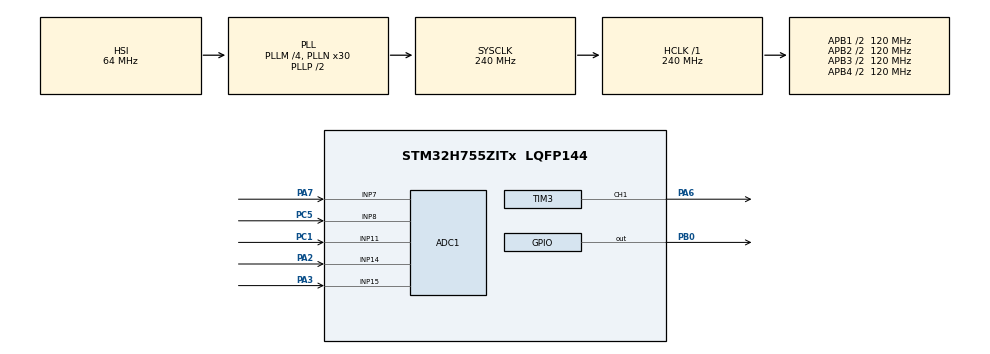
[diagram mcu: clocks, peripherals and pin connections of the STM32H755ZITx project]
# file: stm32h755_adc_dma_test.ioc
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ADC1.Channel-0\#ChannelRegularConversion=ADC_CHANNEL_7
ADC1.Channel-1\#ChannelRegularConversion=ADC_CHANNEL_8
ADC1.Channel-2\#ChannelRegularConversion=ADC_CHANNEL_11
ADC1.Channel-3\#ChannelRegularConversion=ADC_CHANNEL_14
ADC1.Channel-4\#ChannelRegularConversion=ADC_CHANNEL_15
ADC1.ConversionDataManagement=ADC_CONVERSIONDATA_DMA_CIRCULAR
ADC1.EOCSelection=ADC_EOC_SEQ_CONV
ADC1.NbrOfConversion=5
ADC1.NbrOfConversionFlag=1
ADC1.OffsetNumber-0\#ChannelRegularConversion=ADC_OFFSET_NONE
ADC1.OffsetNumber-1\#ChannelRegularConversion=ADC_OFFSET_NONE
ADC1.OffsetNumber-2\#ChannelRegularConversion=ADC_OFFSET_NONE
ADC1.OffsetNumber-3\#ChannelRegularConversion=ADC_OFFSET_NONE
ADC1.OffsetNumber-4\#ChannelRegularConversion=ADC_OFFSET_NONE
ADC1.Rank-0\#ChannelRegularConversion=1
ADC1.Rank-1\#ChannelRegularConversion=2
ADC1.Rank-2\#ChannelRegularConversion=3
ADC1.Rank-3\#ChannelRegularConversion=4
ADC1.Rank-4\#ChannelRegularConversion=5
ADC1.SamplingTime-0\#ChannelRegularConversion=ADC_SAMPLETIME_1CYCLE_5
ADC1.SamplingTime-1\#ChannelRegularConversion=ADC_SAMPLETIME_1CYCLE_5
ADC1.SamplingTime-2\#ChannelRegularConversion=ADC_SAMPLETIME_1CYCLE_5
ADC1.SamplingTime-3\#ChannelRegularConversion=ADC_SAMPLETIME_1CYCLE_5
ADC1.SamplingTime-4\#ChannelRegularConversion=ADC_SAMPLETIME_1CYCLE_5
ADC1.master=1
CortexM4.IPs=BDMA,DEBUG,DMA,FATFS_M4\:I,FREERTOS_M4\:I,IWDG2\:I,MDMA,NVIC2\:I,PDM2PCM_M4\:I,PWR,RCC,RESMGR_UTILITY,SYS_M4\:I,USB_DEVICE_M4\:I,USB_HOST_M4\:I,WWDG2\:I
CortexM7.IPs=BDMA\:I,CORTEX_M7\:I,DEBUG\:I,DMA\:I,FATFS_M7\:I,FREERTOS_M7\:I,IWDG1\:I,MDMA\:I,NVIC1\:I,PDM2PCM_M7\:I,PWR\:I,RCC\:I,RESMGR_UTILITY\:I,SYS\:I,USB_DEVICE_M7\:I,USB_HOST_M7\:I,WWDG1\:I,ADC1\:I,TIM3\:I
Dma.ADC1.0.Direction=DMA_PERIPH_TO_MEMORY
Dma.ADC1.0.EventEnable=DISABLE
Dma.ADC1.0.FIFOMode=DMA_FIFOMODE_DISABLE
Dma.ADC1.0.Instance=DMA1_Stream0
Dma.ADC1.0.MemDataAlignment=DMA_MDATAALIGN_HALFWORD
Dma.ADC1.0.MemInc=DMA_MINC_ENABLE
Dma.ADC1.0.Mode=DMA_CIRCULAR
Dma.ADC1.0.PeriphDataAlignment=DMA_PDATAALIGN_HALFWORD
Dma.ADC1.0.PeriphInc=DMA_PINC_DISABLE
Dma.ADC1.0.Polarity=HAL_DMAMUX_REQ_GEN_RISING
Dma.ADC1.0.Priority=DMA_PRIORITY_LOW
Dma.ADC1.0.RequestNumber=1
Dma.ADC1.0.SignalID=NONE
Dma.ADC1.0.SyncEnable=DISABLE
Dma.ADC1.0.SyncPolarity=HAL_DMAMUX_SYNC_NO_EVENT
Dma.ADC1.0.SyncRequestNumber=1
Dma.ADC1.0.SyncSignalID=NONE
Dma.Request0=ADC1
Mcu.Family=STM32H7
Mcu.Name=STM32H755ZITx
Mcu.Package=LQFP144
NVIC1.DMA1_Stream0_IRQn=true\:0\:0\:false\:false\:true\:false\:true
NVIC1.PriorityGroup=NVIC_PRIORITYGROUP_4
NVIC2.PriorityGroup=NVIC_PRIORITYGROUP_4
PA13\ (JTMS/SWDIO).Mode=Serial_Wire
PA13\ (JTMS/SWDIO).PinAttribute=CortexM7
PA13\ (JTMS/SWDIO).Signal=DEBUG_JTMS-SWDIO
PA14\ (JTCK/SWCLK).Mode=Serial_Wire
PA14\ (JTCK/SWCLK).PinAttribute=CortexM7
PA14\ (JTCK/SWCLK).Signal=DEBUG_JTCK-SWCLK
PA2.PinAttribute=CortexM7
PA2.Signal=ADCx_INP14
PA3.PinAttribute=CortexM7
PA3.Signal=ADCx_INP15
PA6.PinAttribute=CortexM7
PA6.Signal=S_TIM3_CH1
PA7.PinAttribute=CortexM7
PA7.Signal=ADCx_INP7
PB0.PinAttribute=CortexM7
PB0.Signal=GPIO_Output
PC1.PinAttribute=CortexM7
PC1.Signal=ADCx_INP11
PC5.PinAttribute=CortexM7
PC5.Signal=ADCx_INP8
ProjectManager.HeapSize=0x200
ProjectManager.StackSize=0x400
ProjectManager.TargetToolchain=STM32CubeIDE
RCC.ADCFreq_Value=150000000
RCC.APB1Freq_Value=120000000
RCC.APB2Freq_Value=120000000
RCC.APB3Freq_Value=120000000
RCC.APB4Freq_Value=120000000
RCC.CortexFreq_Value=240000000
RCC.D1PPRE=RCC_APB3_DIV2
RCC.D2PPRE1=RCC_APB1_DIV2
RCC.D2PPRE2=RCC_APB2_DIV2
RCC.D3PPRE=RCC_APB4_DIV2
RCC.DIVM1=4
RCC.DIVM2=4
RCC.DIVN1=30
RCC.DIVN2=9
RCC.DIVP2=1
RCC.HCLKFreq_Value=240000000
RCC.PLL2FRACN=3072
RCC.PLL3FRACN=0
RCC.PLLFRACN=0
RCC.PWR_Regulator_Voltage_Scale=PWR_REGULATOR_VOLTAGE_SCALE0
RCC.SYSCLKFreq_VALUE=240000000
RCC.SYSCLKSource=RCC_SYSCLKSOURCE_PLLCLK
RCC.SupplySource=PWR_DIRECT_SMPS_SUPPLY
RCC.USBFreq_Value=240000000
SH.ADCx_INP11.0=ADC1_INP11,IN11-Single-Ended
SH.ADCx_INP14.0=ADC1_INP14,IN14-Single-Ended
SH.ADCx_INP15.0=ADC1_INP15,IN15-Single-Ended
SH.ADCx_INP7.0=ADC1_INP7,IN7-Single-Ended
SH.ADCx_INP8.0=ADC1_INP8,IN8-Single-Ended
SH.S_TIM3_CH1.0=TIM3_CH1,PWM Generation1 CH1
TIM3.Channel-PWM\ Generation1\ CH1=TIM_CHANNEL_1
TIM3.Period=1000
TIM3.Prescaler=100
TIM3.Pulse-PWM\ Generation1\ CH1=499
VP_SYS_M4_VS_Systick.Mode=SysTick
VP_TIM3_VS_ClockSourceINT.Mode=Internal
board=custom

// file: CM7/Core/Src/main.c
/* USER CODE BEGIN Header */
/**
  ******************************************************************************
  * @file           : main.c
  * @brief          : Main program body
  ******************************************************************************
  * @attention
  *
  * <h2><center>&copy; Copyright (c) 2020 STMicroelectronics.
  * All rights reserved.</center></h2>
  *
  * This software component is licensed by ST under BSD 3-Clause license,
  * the "License"; You may not use this file except in compliance with the
  * License. You may obtain a copy of the License at:
  *                        opensource.org/licenses/BSD-3-Clause
  *
  ******************************************************************************
  */
/* USER CODE END Header */

#include "main.h"
#include "adc.h"
#include "dma.h"
#include "tim.h"
#include "gpio.h"

/* USER CODE BEGIN PD */

#define HSEM_ID_0 (0U) /* HW semaphore 0*/
/* USER CODE END PD */

void SystemClock_Config(void);

/* USER CODE BEGIN 0 */
static volatile uint16_t aADCDualConvertedValues1[5]={255,};
static volatile uint16_t aADCDualConvertedValues2[5]={255,};
/* USER CODE END 0 */

int main(void)
{

  /* USER CODE BEGIN Boot_Mode_Sequence_0 */
    int32_t timeout;
  /* USER CODE END Boot_Mode_Sequence_0 */

/* USER CODE BEGIN Boot_Mode_Sequence_1 */
  /* Wait until CPU2 boots and enters in stop mode or timeout*/
  timeout = 0xFFFF;
  while((__HAL_RCC_GET_FLAG(RCC_FLAG_D2CKRDY) != RESET) && (timeout-- > 0));
  if ( timeout < 0 )
  {
  Error_Handler();
  }
/* USER CODE END Boot_Mode_Sequence_1 */
  /* MCU Configuration--------------------------------------------------------*/

  /* Reset of all peripherals, Initializes the Flash interface and the Systick. */
  HAL_Init();

  /* Configure the system clock */
  SystemClock_Config();
/* USER CODE BEGIN Boot_Mode_Sequence_2 */
/* When system initialization is finished, Cortex-M7 will release Cortex-M4 by means of
HSEM notification */
/*HW semaphore Clock enable*/
__HAL_RCC_HSEM_CLK_ENABLE();
/*Take HSEM */
HAL_HSEM_FastTake(HSEM_ID_0);
/*Release HSEM in order to notify the CPU2(CM4)*/
HAL_HSEM_Release(HSEM_ID_0,0);
/* wait until CPU2 wakes up from stop mode */
timeout = 0xFFFF;
while((__HAL_RCC_GET_FLAG(RCC_FLAG_D2CKRDY) == RESET) && (timeout-- > 0));
if ( timeout < 0 )
{
Error_Handler();
}
/* USER CODE END Boot_Mode_Sequence_2 */

  /* Initialize all configured peripherals */
  MX_GPIO_Init();
  MX_DMA_Init();
  MX_ADC1_Init();
  MX_TIM3_Init();
  /* USER CODE BEGIN 2 */
  if (HAL_ADCEx_Calibration_Start(&hadc1, ADC_CALIB_OFFSET, ADC_SINGLE_ENDED) != HAL_OK)
  {
    /* Calibration Error */
    Error_Handler();
  }

  if (HAL_TIM_PWM_Start(&htim3, TIM_CHANNEL_1) != HAL_OK)
  {
    /* PWM Generation Error */
    Error_Handler();
  }
  /* USER CODE END 2 */

  /* Infinite loop */
  /* USER CODE BEGIN WHILE */
  float i = 45.5555;
  float z = 32.222;
  static float r = 0;
  while (1)
  {
    HAL_ADC_Start_DMA(&hadc1, (uint32_t *)aADCDualConvertedValues1, 5);
    r = i/z;
    HAL_Delay((uint16_t)(r));
    z = z + 1.00;

    if(z > 100.000)
    {
      z =  32.222;
    }

    /* USER CODE END WHILE */

  }
}

void SystemClock_Config(void)
{
  RCC_OscInitTypeDef RCC_OscInitStruct = {0};
  RCC_ClkInitTypeDef RCC_ClkInitStruct = {0};
  RCC_PeriphCLKInitTypeDef PeriphClkInitStruct = {0};

  /** Supply configuration update enable
  */
  HAL_PWREx_ConfigSupply(PWR_DIRECT_SMPS_SUPPLY);
  /** Configure the main internal regulator output voltage
  */
  __HAL_PWR_VOLTAGESCALING_CONFIG(PWR_REGULATOR_VOLTAGE_SCALE0);

  while(!__HAL_PWR_GET_FLAG(PWR_FLAG_VOSRDY)) {}
  /** Macro to configure the PLL clock source
  */
  __HAL_RCC_PLL_PLLSOURCE_CONFIG(RCC_PLLSOURCE_HSI);
  /** Initializes the CPU, AHB and APB busses clocks
  */
  RCC_OscInitStruct.OscillatorType = RCC_OSCILLATORTYPE_HSI;
  RCC_OscInitStruct.HSIState = RCC_HSI_DIV1;
  RCC_OscInitStruct.HSICalibrationValue = RCC_HSICALIBRATION_DEFAULT;
  RCC_OscInitStruct.PLL.PLLState = RCC_PLL_ON;
  RCC_OscInitStruct.PLL.PLLSource = RCC_PLLSOURCE_HSI;
  RCC_OscInitStruct.PLL.PLLM = 4;
  RCC_OscInitStruct.PLL.PLLN = 30;
  RCC_OscInitStruct.PLL.PLLP = 2;
  RCC_OscInitStruct.PLL.PLLQ = 2;
  RCC_OscInitStruct.PLL.PLLR = 2;
  RCC_OscInitStruct.PLL.PLLRGE = RCC_PLL1VCIRANGE_3;
  RCC_OscInitStruct.PLL.PLLVCOSEL = RCC_PLL1VCOWIDE;
  RCC_OscInitStruct.PLL.PLLFRACN = 0;
  if (HAL_RCC_OscConfig(&RCC_OscInitStruct) != HAL_OK)
  {
    Error_Handler();
  }
  /** Initializes the CPU, AHB and APB busses clocks
  */
  RCC_ClkInitStruct.ClockType = RCC_CLOCKTYPE_HCLK|RCC_CLOCKTYPE_SYSCLK
                              |RCC_CLOCKTYPE_PCLK1|RCC_CLOCKTYPE_PCLK2
                              |RCC_CLOCKTYPE_D3PCLK1|RCC_CLOCKTYPE_D1PCLK1;
  RCC_ClkInitStruct.SYSCLKSource = RCC_SYSCLKSOURCE_PLLCLK;
  RCC_ClkInitStruct.SYSCLKDivider = RCC_SYSCLK_DIV1;
  RCC_ClkInitStruct.AHBCLKDivider = RCC_HCLK_DIV1;
  RCC_ClkInitStruct.APB3CLKDivider = RCC_APB3_DIV2;
  RCC_ClkInitStruct.APB1CLKDivider = RCC_APB1_DIV2;
  RCC_ClkInitStruct.APB2CLKDivider = RCC_APB2_DIV2;
  RCC_ClkInitStruct.APB4CLKDivider = RCC_APB4_DIV2;

  if (HAL_RCC_ClockConfig(&RCC_ClkInitStruct, FLASH_LATENCY_4) != HAL_OK)
  {
    Error_Handler();
  }
  PeriphClkInitStruct.PeriphClockSelection = RCC_PERIPHCLK_ADC;
  PeriphClkInitStruct.PLL2.PLL2M = 4;
  PeriphClkInitStruct.PLL2.PLL2N = 9;
  PeriphClkInitStruct.PLL2.PLL2P = 1;
  PeriphClkInitStruct.PLL2.PLL2Q = 2;
  PeriphClkInitStruct.PLL2.PLL2R = 2;
  PeriphClkInitStruct.PLL2.PLL2RGE = RCC_PLL2VCIRANGE_3;
  PeriphClkInitStruct.PLL2.PLL2VCOSEL = RCC_PLL2VCOMEDIUM;
  PeriphClkInitStruct.PLL2.PLL2FRACN = 3072;
  PeriphClkInitStruct.AdcClockSelection = RCC_ADCCLKSOURCE_PLL2;
  if (HAL_RCCEx_PeriphCLKConfig(&PeriphClkInitStruct) != HAL_OK)
  {
    Error_Handler();
  }
}

/* USER CODE BEGIN 4 */
void HAL_ADC_ConvCpltCallback(ADC_HandleTypeDef *AdcHandle)
{
  HAL_GPIO_TogglePin(GPIOB, GPIO_PIN_0);
}
/* USER CODE END 4 */

void Error_Handler(void)
{
  /* USER CODE BEGIN Error_Handler_Debug */
  /* User can add his own implementation to report the HAL error return state */
  //while(1);
  /* USER CODE END Error_Handler_Debug */
}

/************************ (C) COPYRIGHT STMicroelectronics *****END OF FILE****/
